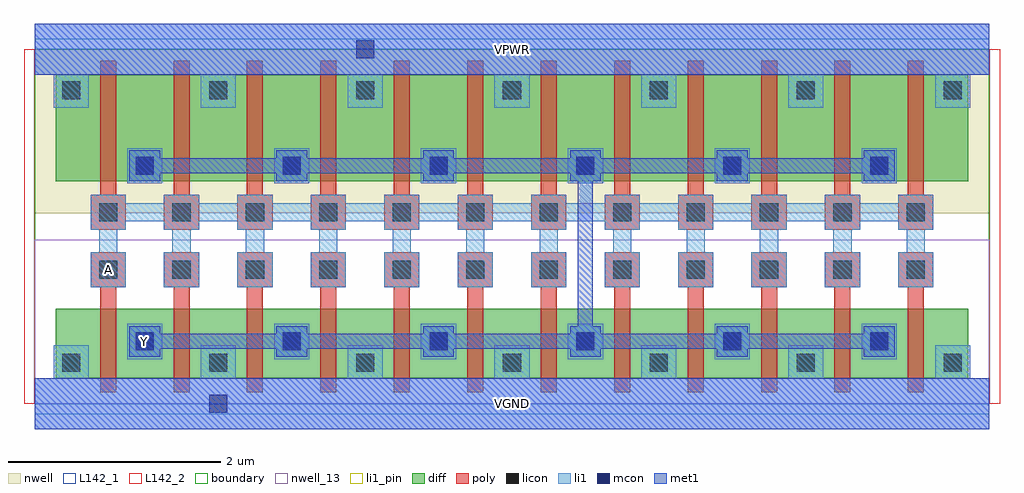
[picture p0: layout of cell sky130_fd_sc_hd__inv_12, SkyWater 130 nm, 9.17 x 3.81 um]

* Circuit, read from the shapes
.subckt sky130_fd_sc_hd__inv_12 A VGND VPWR Y
XM1 Y A VGND VSUBS sky130_fd_pr__nfet_01v8 w=0.65 l=0.15 m=12
XM2 Y A VPWR n1 sky130_fd_pr__pfet_01v8 w=1 l=0.15 m=12
.ends

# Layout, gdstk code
import gdstk
lib = gdstk.Library(unit=1e-6, precision=1e-09)
def R(c, l, rs):  # rectangles x0, y0, x1, y1
    for r in rs: c.add(gdstk.rectangle(r[:2], r[2:], *l))
def A(c, l, x, y, w, h, nx, ny, dx, dy):  # array of equal rectangles
    R(c, l, [(x+i*dx, y+j*dy, x+i*dx+w, y+j*dy+h) for i in range(nx) for j in range(ny)])
def P(c, l, *ps):  # polygons
    for p in ps: c.add(gdstk.Polygon(p, *l))
nwell_13 = (64, 13)
nwell = (64, 20)
diff = (65, 20)
poly = (66, 20)
licon = (66, 44)
li1_pin = (67, 16)
li1 = (67, 20)
mcon = (67, 44)
met1 = (68, 20)
L142_1 = (142, 1)
L142_2 = (142, 2)
boundary = (235, 4)

sky130_fd_sc_hd__inv_12 = lib.new_cell('sky130_fd_sc_hd__inv_12')
R(sky130_fd_sc_hd__inv_12, nwell_13, [(0,0,8.97,1.54)])
R(sky130_fd_sc_hd__inv_12, nwell, [(0,1.79,8.97,3.33)])
A(sky130_fd_sc_hd__inv_12, diff, 0.615, 0.24, 0.69, 0.65, 11, 1, 0.69, 0)
A(sky130_fd_sc_hd__inv_12, diff, 0.615, 2.09, 0.69, 1, 11, 1, 0.69, 0)
R(sky130_fd_sc_hd__inv_12, diff, [(0.2,0.24,8.77,0.89), (0.2,0.24,0.615,0.89), (8.205,0.24,8.77,0.89), (0.2,2.09,8.77,3.09), (0.2,2.09,0.615,3.09), (8.205,2.09,8.77,3.09)])
P(sky130_fd_sc_hd__inv_12, poly, [(0.615,0.11),(0.615,1.095),(0.525,1.095),(0.525,1.425),(0.855,1.425),(0.855,1.095),(0.765,1.095),(0.765,0.11)],
  [(1.305,0.11),(1.305,1.095),(1.215,1.095),(1.215,1.425),(1.545,1.425),(1.545,1.095),(1.455,1.095),(1.455,0.11)],
  [(1.995,0.11),(1.995,1.095),(1.905,1.095),(1.905,1.425),(2.235,1.425),(2.235,1.095),(2.145,1.095),(2.145,0.11)],
  [(2.685,0.11),(2.685,1.095),(2.595,1.095),(2.595,1.425),(2.925,1.425),(2.925,1.095),(2.835,1.095),(2.835,0.11)],
  [(3.375,0.11),(3.375,1.095),(3.285,1.095),(3.285,1.425),(3.615,1.425),(3.615,1.095),(3.525,1.095),(3.525,0.11)],
  [(4.065,0.11),(4.065,1.095),(3.975,1.095),(3.975,1.425),(4.305,1.425),(4.305,1.095),(4.215,1.095),(4.215,0.11)],
  [(4.755,0.11),(4.755,1.095),(4.665,1.095),(4.665,1.425),(4.995,1.425),(4.995,1.095),(4.905,1.095),(4.905,0.11)],
  [(5.445,0.11),(5.445,1.095),(5.355,1.095),(5.355,1.425),(5.685,1.425),(5.685,1.095),(5.595,1.095),(5.595,0.11)],
  [(6.135,0.11),(6.135,1.095),(6.045,1.095),(6.045,1.425),(6.375,1.425),(6.375,1.095),(6.285,1.095),(6.285,0.11)],
  [(6.825,0.11),(6.825,1.095),(6.735,1.095),(6.735,1.425),(7.065,1.425),(7.065,1.095),(6.975,1.095),(6.975,0.11)],
  [(7.515,0.11),(7.515,1.095),(7.425,1.095),(7.425,1.425),(7.755,1.425),(7.755,1.095),(7.665,1.095),(7.665,0.11)],
  [(8.205,0.11),(8.205,1.095),(8.115,1.095),(8.115,1.425),(8.445,1.425),(8.445,1.095),(8.355,1.095),(8.355,0.11)],
  [(0.525,1.635),(0.525,1.965),(0.615,1.965),(0.615,3.22),(0.765,3.22),(0.765,1.965),(0.855,1.965),(0.855,1.635)],
  [(1.215,1.635),(1.215,1.965),(1.305,1.965),(1.305,3.22),(1.455,3.22),(1.455,1.965),(1.545,1.965),(1.545,1.635)],
  [(1.905,1.635),(1.905,1.965),(1.995,1.965),(1.995,3.22),(2.145,3.22),(2.145,1.965),(2.235,1.965),(2.235,1.635)],
  [(2.595,1.635),(2.595,1.965),(2.685,1.965),(2.685,3.22),(2.835,3.22),(2.835,1.965),(2.925,1.965),(2.925,1.635)],
  [(3.285,1.635),(3.285,1.965),(3.375,1.965),(3.375,3.22),(3.525,3.22),(3.525,1.965),(3.615,1.965),(3.615,1.635)],
  [(3.975,1.635),(3.975,1.965),(4.065,1.965),(4.065,3.22),(4.215,3.22),(4.215,1.965),(4.305,1.965),(4.305,1.635)],
  [(4.665,1.635),(4.665,1.965),(4.755,1.965),(4.755,3.22),(4.905,3.22),(4.905,1.965),(4.995,1.965),(4.995,1.635)],
  [(5.355,1.635),(5.355,1.965),(5.445,1.965),(5.445,3.22),(5.595,3.22),(5.595,1.965),(5.685,1.965),(5.685,1.635)],
  [(6.045,1.635),(6.045,1.965),(6.135,1.965),(6.135,3.22),(6.285,3.22),(6.285,1.965),(6.375,1.965),(6.375,1.635)],
  [(6.735,1.635),(6.735,1.965),(6.825,1.965),(6.825,3.22),(6.975,3.22),(6.975,1.965),(7.065,1.965),(7.065,1.635)],
  [(7.425,1.635),(7.425,1.965),(7.515,1.965),(7.515,3.22),(7.665,3.22),(7.665,1.965),(7.755,1.965),(7.755,1.635)],
  [(8.115,1.635),(8.115,1.965),(8.205,1.965),(8.205,3.22),(8.355,3.22),(8.355,1.965),(8.445,1.965),(8.445,1.635)])
A(sky130_fd_sc_hd__inv_12, licon, 0.26, 0.3, 0.17, 0.17, 7, 2, 1.38, 2.56)
A(sky130_fd_sc_hd__inv_12, licon, 0.95, 0.5, 0.17, 0.17, 6, 2, 1.38, 1.65)
A(sky130_fd_sc_hd__inv_12, licon, 0.605, 1.175, 0.17, 0.17, 12, 2, 0.69, 0.54)
R(sky130_fd_sc_hd__inv_12, li1_pin, [(0,-0.24,8.97,0.24), (0.87,0.42,1.2,0.75), (0,3.09,8.97,3.57)])
P(sky130_fd_sc_hd__inv_12, li1_pin, [(0.525,1.095),(0.525,1.425),(0.605,1.425),(0.605,1.635),(0.525,1.635),(0.525,1.965),(0.855,1.965),(0.855,1.885),(1.215,1.885),(1.215,1.965),(1.545,1.965),(1.545,1.885),(1.905,1.885),(1.905,1.965),(2.235,1.965),(2.235,1.885),(2.595,1.885),(2.595,1.965),(2.925,1.965),(2.925,1.885),(3.285,1.885),(3.285,1.965),(3.615,1.965),(3.615,1.885),(3.975,1.885),(3.975,1.965),(4.305,1.965),(4.305,1.885),(4.665,1.885),(4.665,1.965),(4.995,1.965),(4.995,1.885),(5.355,1.885),(5.355,1.965),(5.685,1.965),(5.685,1.885),(6.045,1.885),(6.045,1.965),(6.375,1.965),(6.375,1.885),(6.735,1.885),(6.735,1.965),(7.065,1.965),(7.065,1.885),(7.425,1.885),(7.425,1.965),(7.755,1.965),(7.755,1.885),(8.115,1.885),(8.115,1.965),(8.445,1.965),(8.445,1.635),(8.365,1.635),(8.365,1.425),(8.445,1.425),(8.445,1.095),(8.115,1.095),(8.115,1.425),(8.195,1.425),(8.195,1.635),(8.115,1.635),(8.115,1.715),(7.755,1.715),(7.755,1.635),(7.675,1.635),(7.675,1.425),(7.755,1.425),(7.755,1.095),(7.425,1.095),(7.425,1.425),(7.505,1.425),(7.505,1.635),(7.425,1.635),(7.425,1.715),(7.065,1.715),(7.065,1.635),(6.985,1.635),(6.985,1.425),(7.065,1.425),(7.065,1.095),(6.735,1.095),(6.735,1.425),(6.815,1.425),(6.815,1.635),(6.735,1.635),(6.735,1.715),(6.375,1.715),(6.375,1.635),(6.295,1.635),(6.295,1.425),(6.375,1.425),(6.375,1.095),(6.045,1.095),(6.045,1.425),(6.125,1.425),(6.125,1.635),(6.045,1.635),(6.045,1.715),(5.685,1.715),(5.685,1.635),(5.605,1.635),(5.605,1.425),(5.685,1.425),(5.685,1.095),(5.355,1.095),(5.355,1.425),(5.435,1.425),(5.435,1.635),(5.355,1.635),(5.355,1.715),(4.995,1.715),(4.995,1.635),(4.915,1.635),(4.915,1.425),(4.995,1.425),(4.995,1.095),(4.665,1.095),(4.665,1.425),(4.745,1.425),(4.745,1.635),(4.665,1.635),(4.665,1.715),(4.305,1.715),(4.305,1.635),(4.225,1.635),(4.225,1.425),(4.305,1.425),(4.305,1.095),(3.975,1.095),(3.975,1.425),(4.055,1.425),(4.055,1.635),(3.975,1.635),(3.975,1.715),(3.615,1.715),(3.615,1.635),(3.535,1.635),(3.535,1.425),(3.615,1.425),(3.615,1.095),(3.285,1.095),(3.285,1.425),(3.365,1.425),(3.365,1.635),(3.285,1.635),(3.285,1.715),(2.925,1.715),(2.925,1.635),(2.845,1.635),(2.845,1.425),(2.925,1.425),(2.925,1.095),(2.595,1.095),(2.595,1.425),(2.675,1.425),(2.675,1.635),(2.595,1.635),(2.595,1.715),(2.235,1.715),(2.235,1.635),(2.155,1.635),(2.155,1.425),(2.235,1.425),(2.235,1.095),(1.905,1.095),(1.905,1.425),(1.985,1.425),(1.985,1.635),(1.905,1.635),(1.905,1.715),(1.545,1.715),(1.545,1.635),(1.465,1.635),(1.465,1.425),(1.545,1.425),(1.545,1.095),(1.215,1.095),(1.215,1.425),(1.295,1.425),(1.295,1.635),(1.215,1.635),(1.215,1.715),(0.855,1.715),(0.855,1.635),(0.775,1.635),(0.775,1.425),(0.855,1.425),(0.855,1.095)])
A(sky130_fd_sc_hd__inv_12, li1, 0.87, 0.42, 0.33, 0.33, 6, 2, 1.38, 1.65)
P(sky130_fd_sc_hd__inv_12, li1, [(0.18,2.78),(0.18,3.09),(0,3.09),(0,3.57),(8.97,3.57),(8.97,3.09),(8.79,3.09),(8.79,2.78),(8.46,2.78),(8.46,3.09),(7.41,3.09),(7.41,2.78),(7.08,2.78),(7.08,3.09),(6.03,3.09),(6.03,2.78),(5.7,2.78),(5.7,3.09),(4.65,3.09),(4.65,2.78),(4.32,2.78),(4.32,3.09),(3.27,3.09),(3.27,2.78),(2.94,2.78),(2.94,3.09),(1.89,3.09),(1.89,2.78),(1.56,2.78),(1.56,3.09),(0.51,3.09),(0.51,2.78)],
  [(0,-0.24),(0,0.24),(0.18,0.24),(0.18,0.55),(0.51,0.55),(0.51,0.24),(1.56,0.24),(1.56,0.55),(1.89,0.55),(1.89,0.24),(2.94,0.24),(2.94,0.55),(3.27,0.55),(3.27,0.24),(4.32,0.24),(4.32,0.55),(4.65,0.55),(4.65,0.24),(5.7,0.24),(5.7,0.55),(6.03,0.55),(6.03,0.24),(7.08,0.24),(7.08,0.55),(7.41,0.55),(7.41,0.24),(8.46,0.24),(8.46,0.55),(8.79,0.55),(8.79,0.24),(8.97,0.24),(8.97,-0.24)],
  [(0.525,1.095),(0.525,1.425),(0.605,1.425),(0.605,1.635),(0.525,1.635),(0.525,1.965),(0.855,1.965),(0.855,1.885),(1.215,1.885),(1.215,1.965),(1.545,1.965),(1.545,1.885),(1.905,1.885),(1.905,1.965),(2.235,1.965),(2.235,1.885),(2.595,1.885),(2.595,1.965),(2.925,1.965),(2.925,1.885),(3.285,1.885),(3.285,1.965),(3.615,1.965),(3.615,1.885),(3.975,1.885),(3.975,1.965),(4.305,1.965),(4.305,1.885),(4.665,1.885),(4.665,1.965),(4.995,1.965),(4.995,1.885),(5.355,1.885),(5.355,1.965),(5.685,1.965),(5.685,1.885),(6.045,1.885),(6.045,1.965),(6.375,1.965),(6.375,1.885),(6.735,1.885),(6.735,1.965),(7.065,1.965),(7.065,1.885),(7.425,1.885),(7.425,1.965),(7.755,1.965),(7.755,1.885),(8.115,1.885),(8.115,1.965),(8.445,1.965),(8.445,1.635),(8.365,1.635),(8.365,1.425),(8.445,1.425),(8.445,1.095),(8.115,1.095),(8.115,1.425),(8.195,1.425),(8.195,1.635),(8.115,1.635),(8.115,1.715),(7.755,1.715),(7.755,1.635),(7.675,1.635),(7.675,1.425),(7.755,1.425),(7.755,1.095),(7.425,1.095),(7.425,1.425),(7.505,1.425),(7.505,1.635),(7.425,1.635),(7.425,1.715),(7.065,1.715),(7.065,1.635),(6.985,1.635),(6.985,1.425),(7.065,1.425),(7.065,1.095),(6.735,1.095),(6.735,1.425),(6.815,1.425),(6.815,1.635),(6.735,1.635),(6.735,1.715),(6.375,1.715),(6.375,1.635),(6.295,1.635),(6.295,1.425),(6.375,1.425),(6.375,1.095),(6.045,1.095),(6.045,1.425),(6.125,1.425),(6.125,1.635),(6.045,1.635),(6.045,1.715),(5.685,1.715),(5.685,1.635),(5.605,1.635),(5.605,1.425),(5.685,1.425),(5.685,1.095),(5.355,1.095),(5.355,1.425),(5.435,1.425),(5.435,1.635),(5.355,1.635),(5.355,1.715),(4.995,1.715),(4.995,1.635),(4.915,1.635),(4.915,1.425),(4.995,1.425),(4.995,1.095),(4.665,1.095),(4.665,1.425),(4.745,1.425),(4.745,1.635),(4.665,1.635),(4.665,1.715),(4.305,1.715),(4.305,1.635),(4.225,1.635),(4.225,1.425),(4.305,1.425),(4.305,1.095),(3.975,1.095),(3.975,1.425),(4.055,1.425),(4.055,1.635),(3.975,1.635),(3.975,1.715),(3.615,1.715),(3.615,1.635),(3.535,1.635),(3.535,1.425),(3.615,1.425),(3.615,1.095),(3.285,1.095),(3.285,1.425),(3.365,1.425),(3.365,1.635),(3.285,1.635),(3.285,1.715),(2.925,1.715),(2.925,1.635),(2.845,1.635),(2.845,1.425),(2.925,1.425),(2.925,1.095),(2.595,1.095),(2.595,1.425),(2.675,1.425),(2.675,1.635),(2.595,1.635),(2.595,1.715),(2.235,1.715),(2.235,1.635),(2.155,1.635),(2.155,1.425),(2.235,1.425),(2.235,1.095),(1.905,1.095),(1.905,1.425),(1.985,1.425),(1.985,1.635),(1.905,1.635),(1.905,1.715),(1.545,1.715),(1.545,1.635),(1.465,1.635),(1.465,1.425),(1.545,1.425),(1.545,1.095),(1.215,1.095),(1.215,1.425),(1.295,1.425),(1.295,1.635),(1.215,1.635),(1.215,1.715),(0.855,1.715),(0.855,1.635),(0.775,1.635),(0.775,1.425),(0.855,1.425),(0.855,1.095)])
A(sky130_fd_sc_hd__inv_12, mcon, 0.95, 0.5, 0.17, 0.17, 6, 2, 1.38, 1.65)
R(sky130_fd_sc_hd__inv_12, mcon, [(1.64,-0.085,1.81,0.085), (3.02,3.245,3.19,3.415)])
R(sky130_fd_sc_hd__inv_12, met1, [(0,-0.24,8.97,0.24), (0,3.09,8.97,3.57)])
P(sky130_fd_sc_hd__inv_12, met1, [(0.89,0.44),(0.89,0.73),(1.18,0.73),(1.18,0.655),(2.27,0.655),(2.27,0.73),(2.56,0.73),(2.56,0.655),(3.65,0.655),(3.65,0.73),(3.94,0.73),(3.94,0.655),(5.03,0.655),(5.03,0.73),(5.105,0.73),(5.105,2.09),(5.03,2.09),(5.03,2.165),(3.94,2.165),(3.94,2.09),(3.65,2.09),(3.65,2.165),(2.56,2.165),(2.56,2.09),(2.27,2.09),(2.27,2.165),(1.18,2.165),(1.18,2.09),(0.89,2.09),(0.89,2.38),(1.18,2.38),(1.18,2.305),(2.27,2.305),(2.27,2.38),(2.56,2.38),(2.56,2.305),(3.65,2.305),(3.65,2.38),(3.94,2.38),(3.94,2.305),(5.03,2.305),(5.03,2.38),(5.32,2.38),(5.32,2.305),(6.41,2.305),(6.41,2.38),(6.7,2.38),(6.7,2.305),(7.79,2.305),(7.79,2.38),(8.08,2.38),(8.08,2.09),(7.79,2.09),(7.79,2.165),(6.7,2.165),(6.7,2.09),(6.41,2.09),(6.41,2.165),(5.32,2.165),(5.32,2.09),(5.245,2.09),(5.245,0.73),(5.32,0.73),(5.32,0.655),(6.41,0.655),(6.41,0.73),(6.7,0.73),(6.7,0.655),(7.79,0.655),(7.79,0.73),(8.08,0.73),(8.08,0.44),(7.79,0.44),(7.79,0.515),(6.7,0.515),(6.7,0.44),(6.41,0.44),(6.41,0.515),(5.32,0.515),(5.32,0.44),(5.03,0.44),(5.03,0.515),(3.94,0.515),(3.94,0.44),(3.65,0.44),(3.65,0.515),(2.56,0.515),(2.56,0.44),(2.27,0.44),(2.27,0.515),(1.18,0.515),(1.18,0.44)])
R(sky130_fd_sc_hd__inv_12, L142_1, [(0,-0.1,8.97,0), (0,3.33,8.97,3.43)])
R(sky130_fd_sc_hd__inv_12, L142_2, [(-0.1,0,0,3.33), (8.97,0,9.07,3.33)])
R(sky130_fd_sc_hd__inv_12, boundary, [(0,0,8.97,3.33)])
sky130_fd_sc_hd__inv_12.add(gdstk.Label('Y', (1.035,0.585), layer=67, texttype=5))
sky130_fd_sc_hd__inv_12.add(gdstk.Label('A', (0.69,1.26), layer=67, texttype=5))
sky130_fd_sc_hd__inv_12.add(gdstk.Label('VGND', (4.485,0), layer=67, texttype=5))
sky130_fd_sc_hd__inv_12.add(gdstk.Label('VPWR', (4.485,3.33), layer=67, texttype=5))
sky130_fd_sc_hd__inv_12.add(gdstk.Label('VGND', (4.485,0), layer=68, texttype=5))
sky130_fd_sc_hd__inv_12.add(gdstk.Label('VPWR', (4.485,3.33), layer=68, texttype=5))

lib.write_gds('sky130_fd_sc_hd__inv_12.gds')
